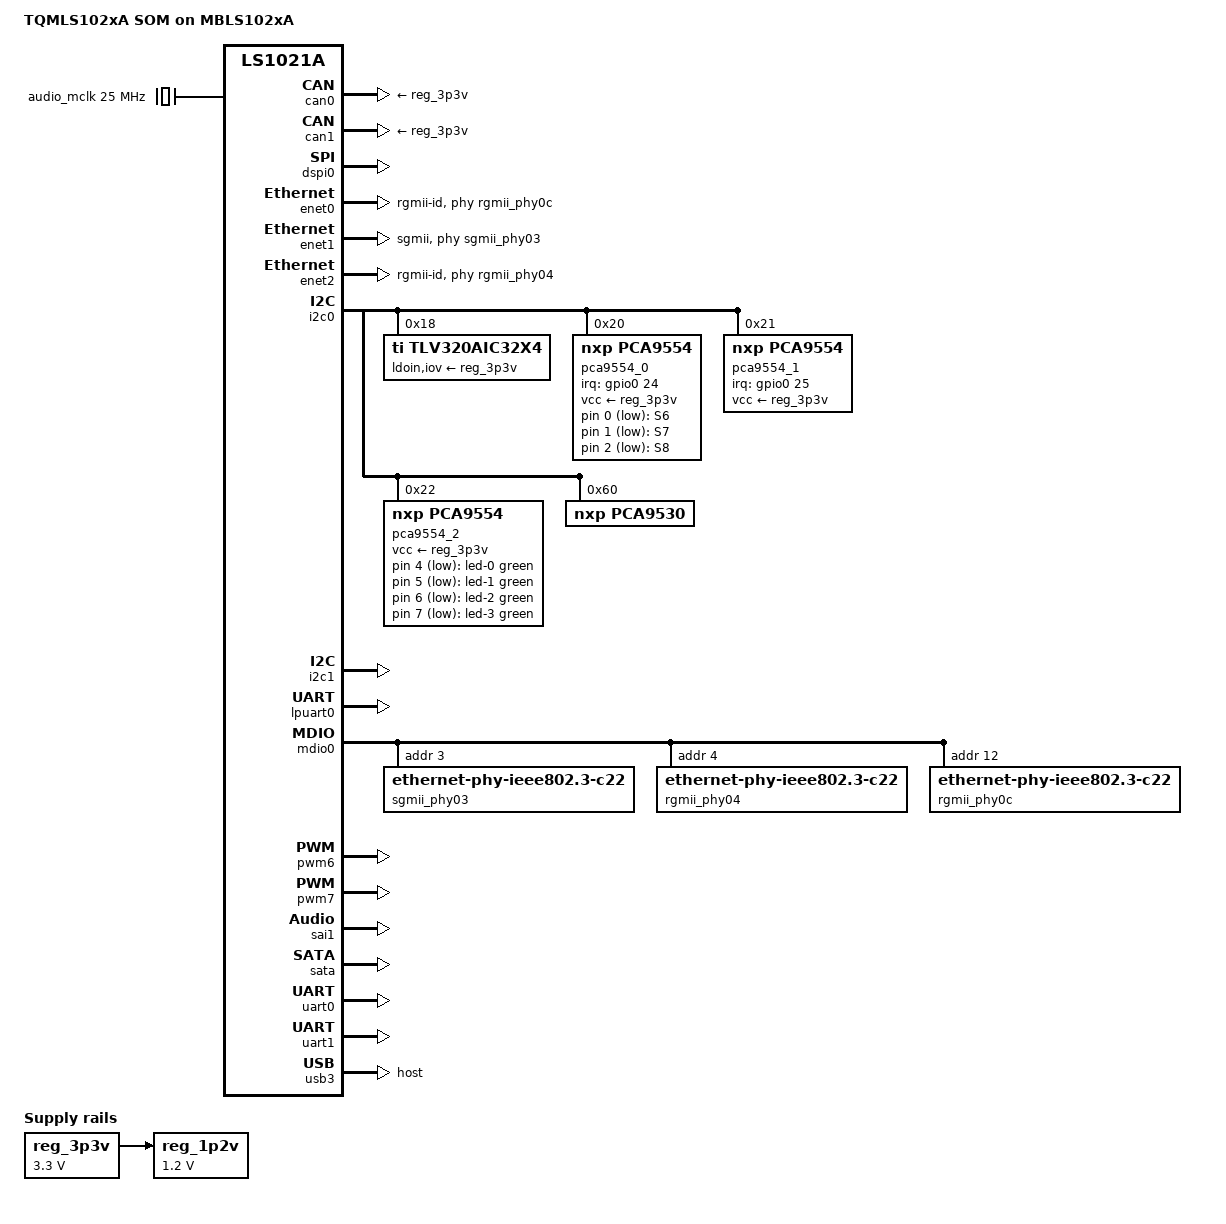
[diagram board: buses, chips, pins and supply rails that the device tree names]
// SPDX-License-Identifier: (GPL-2.0-or-later OR X11)
/*
 * Copyright 2013-2014 Freescale Semiconductor, Inc.
 * Copyright 2018-2023 TQ-Systems GmbH <linux@ew.tq-group.com>,
 * D-82229 Seefeld, Germany.
 * Author: Alexander Stein
 */

/dts-v1/;

#include <dt-bindings/gpio/gpio.h>
#include <dt-bindings/input/linux-event-codes.h>
#include <dt-bindings/leds/common.h>
#include <dt-bindings/leds/leds-pca9532.h>
#include <dt-bindings/net/ti-dp83867.h>

#include "ls1021a-tqmls1021a.dtsi"

/ {
	model = "TQMLS102xA SOM on MBLS102xA";
	compatible = "tq,ls1021a-tqmls1021a-mbls102xa", "tq,ls1021a-tqmls1021a", "fsl,ls1021a";

	audio_mclk: audio-clock {
		compatible = "fixed-clock";
		#clock-cells = <0>;
		clock-frequency = <25000000>;
	};

	backlight_dcu: backlight {
		compatible = "gpio-backlight";
		gpios = <&pca9530 0 GPIO_ACTIVE_LOW>;
		status = "disabled";
	};

	gpio-keys {
		compatible = "gpio-keys";
		autorepeat;

		switch-1 {
			label = "S6";
			linux,code = <BTN_0>;
			gpios = <&pca9554_0 0 GPIO_ACTIVE_LOW>;
		};

		btn2: switch-2 {
			label = "S7";
			linux,code = <BTN_1>;
			gpios = <&pca9554_0 1 GPIO_ACTIVE_LOW>;
		};

		switch-3 {
			label = "S8";
			linux,code = <BTN_2>;
			gpios = <&pca9554_0 2 GPIO_ACTIVE_LOW>;
		};
	};

	gpio_leds: gpio-leds {
		compatible = "gpio-leds";

		led-0 {
			color = <LED_COLOR_ID_GREEN>;
			function = LED_FUNCTION_STATUS;
			function-enumerator = <0>;
			gpios = <&pca9554_2 4 GPIO_ACTIVE_LOW>;
			linux,default-trigger = "default-on";
		};

		led-1 {
			color = <LED_COLOR_ID_GREEN>;
			function = LED_FUNCTION_STATUS;
			function-enumerator = <1>;
			gpios = <&pca9554_2 5 GPIO_ACTIVE_LOW>;
			linux,default-trigger = "default-on";
		};

		led-2 {
			color = <LED_COLOR_ID_GREEN>;
			function = LED_FUNCTION_STATUS;
			function-enumerator = <2>;
			gpios = <&pca9554_2 6 GPIO_ACTIVE_LOW>;
			linux,default-trigger = "default-on";
		};

		led-3 {
			color = <LED_COLOR_ID_GREEN>;
			function = LED_FUNCTION_HEARTBEAT;
			function-enumerator = <0>;
			gpios = <&pca9554_2 7 GPIO_ACTIVE_LOW>;
			linux,default-trigger = "heartbeat";
		};
	};

	lvds_encoder: lvds-encoder {
		compatible = "ti,sn75lvds83", "lvds-encoder";
		power-supply = <&reg_3p3v>;
		status = "disabled";

		ports {
			#address-cells = <1>;
			#size-cells = <0>;

			port@0 {
				reg = <0>;

				lvds_encoder_in: endpoint {};
			};

			port@1 {
				reg = <1>;

				lvds_encoder_out: endpoint {};
			};
		};
	};

	reg_1p2v: regulator-1p2v {
		compatible = "regulator-fixed";
		regulator-name = "1P2V";
		regulator-min-microvolt = <1200000>;
		regulator-max-microvolt = <1200000>;
		regulator-always-on;
		vin-supply = <&reg_3p3v>;
	};

	reg_3p3v: regulator-3p3v {
		compatible = "regulator-fixed";
		regulator-name = "3P3V";
		regulator-min-microvolt = <3300000>;
		regulator-max-microvolt = <3300000>;
		regulator-always-on;
	};

	hdmi_out: hdmi {
		compatible = "hdmi-connector";
		type = "a";
		ddc-i2c-bus = <&i2c0>;
		status = "disabled";

		port {
			hdmi_in: endpoint {
				remote-endpoint = <&sii9022a_out>;
			};
		};
	};

	display: panel {
		backlight = <&backlight_dcu>;
		enable-gpios = <&pca9554_1 3 GPIO_ACTIVE_HIGH>;
		status = "disabled";

		port {
			panel_in: endpoint {};
		};
	};

	sound {
		compatible = "fsl,imx-audio-tlv320aic32x4";
		model = "ls1021a-mbls1021a-tlv320aic32";
		ssi-controller = <&sai1>;
		audio-codec = <&tlv320aic32x4>;
	};

};

&can0 {
	xceiver-supply = <&reg_3p3v>;
	status = "okay";
};

&can1 {
	xceiver-supply = <&reg_3p3v>;
	status = "okay";
};

&dspi0 {
	status = "okay";
};

&enet0 {
	phy-handle = <&rgmii_phy0c>;
	phy-mode = "rgmii-id";
	mac-address = [ 00 00 00 00 00 00 ];
	status = "okay";
};

&enet1 {
	tbi-handle = <&tbi1>;
	phy-handle = <&sgmii_phy03>;
	phy-mode = "sgmii";
	mac-address = [ 00 00 00 00 00 00 ];
	status = "okay";
};

&enet2 {
	phy-handle = <&rgmii_phy04>;
	phy-mode = "rgmii-id";
	mac-address = [ 00 00 00 00 00 00 ];
	status = "okay";
};

&i2c0 {
	status = "okay";

	tlv320aic32x4: audio-codec@18 {
		compatible = "ti,tlv320aic32x4";
		reg = <0x18>;
		clocks = <&audio_mclk>;
		clock-names = "mclk";
		ldoin-supply = <&reg_3p3v>;
		iov-supply = <&reg_3p3v>;
	};

	pca9554_0: gpio-expander@20 {
		compatible = "nxp,pca9554";
		reg = <0x20>;
		gpio-controller;
		#gpio-cells = <2>;
		interrupt-parent = <&gpio0>;
		interrupts = <24 IRQ_TYPE_EDGE_FALLING>;
		interrupt-controller;
		#interrupt-cells = <2>;
		vcc-supply = <&reg_3p3v>;
		gpio-line-names = "BUTTON0", "BUTTON1",
				  "BUTTON2", "EMMC_SEL",
				  "DIP2", "DIP3",
				  "EXT_TOUCH_INT", "GPIO_1";
	};

	pca9554_1: gpio-expander@21 {
		compatible = "nxp,pca9554";
		reg = <0x21>;
		gpio-controller;
		#gpio-cells = <2>;
		interrupt-parent = <&gpio0>;
		interrupts = <25 IRQ_TYPE_EDGE_FALLING>;
		interrupt-controller;
		#interrupt-cells = <2>;
		vcc-supply = <&reg_3p3v>;
		gpio-line-names = "PCIE_PWR_EN", "MPCIE_DISABLE#",
				  "MPCIE_WAKE#", "LCD_BLT_EN",
				  "LCD_PWR_EN", "EC1_PHY_PWDN",
				  "EC3_PHY_PWDN", "SGMII_PHY_PWDN";
	};

	pca9554_2: gpio-expander@22 {
		compatible = "nxp,pca9554";
		reg = <0x22>;
		gpio-controller;
		#gpio-cells = <2>;
		interrupt-parent = <&extirq>;
		interrupts = <2 IRQ_TYPE_EDGE_FALLING>;
		interrupt-controller;
		#interrupt-cells = <2>;
		vcc-supply = <&reg_3p3v>;
		gpio-line-names = "MUX_SEL0", "MUX_SEL1",
				  "MUX_SEL2", "MUX_SEL3",
				  "V95", "V96", "V97", "V98";
	};

	sii9022a: hdmi-transmitter@3b {
		compatible = "sil,sii9022";
		reg = <0x3b>;
		iovcc-supply = <&reg_3p3v>;
		cvcc12-supply = <&reg_1p2v>;
		interrupts = <GIC_SPI 167 IRQ_TYPE_EDGE_RISING>;
		#sound-dai-cells = <0>;
		sil,i2s-data-lanes = <0>;
		status = "disabled";

		ports {
			#address-cells = <1>;
			#size-cells = <0>;

			port@0 {
				reg = <0>;

				sii9022a_in: endpoint {};
			};

			port@1 {
				reg = <1>;

				sii9022a_out: endpoint {
					remote-endpoint = <&hdmi_in>;
				};
			};
		};
	};

	stmpe811: port-expander@41 {
		compatible = "st,stmpe811";
		reg = <0x41>;
		interrupt-parent = <&gpio0>;
		interrupts = <23 IRQ_TYPE_EDGE_FALLING>;
		vcc-supply = <&reg_3p3v>;
		vio-supply = <&reg_3p3v>;

		gpio {
			compatible = "st,stmpe-gpio";
			gpio-controller;
			#gpio-cells = <2>;
			interrupt-controller;
			#interrupt-cells = <2>;
			/* GPIO 5-7 used for touch */
			st,norequest-mask = <0xf0>;
			gpio-line-names = "GPIO_ADC_I2C1_1",
					  "GPIO_ADC_I2C1_2",
					  "GPIO_ADC_I2C1_3",
					  "GPIO_ADC_I2C1_4";
		};

		touchscreen {
			compatible = "st,stmpe-ts";
			status = "disabled";
		};
	};

	pca9530: leds@60 {
		compatible = "nxp,pca9530";
		reg = <0x60>;
		gpio-controller;
		#gpio-cells = <2>;
		gpio-line-names = "PWM_0", "PWM_1";

		led-0 {
			type = <PCA9532_TYPE_GPIO>;
		};

		led-1 {
			type = <PCA9532_TYPE_GPIO>;
		};
	};

};

&i2c1 {
	status = "okay";
};

&lpuart0 {
	linux,rs485-enabled-at-boot-time;
	status = "okay";
};

&mdio0 {
	sgmii_phy03: ethernet-phy@3 {
		compatible = "ethernet-phy-ieee802.3-c22";
		reg = <0x03>;
		ti,fifo-depth = <DP83867_PHYCR_FIFO_DEPTH_4_B_NIB>;
		ti,clk-output-sel = <DP83867_CLK_O_SEL_OFF>;
		ti,dp83867-rxctrl-strap-quirk;
	};

	rgmii_phy04: ethernet-phy@4 {
		compatible = "ethernet-phy-ieee802.3-c22";
		reg = <0x04>;
		ti,rx-internal-delay = <DP83867_RGMIIDCTL_2_50_NS>;
		ti,tx-internal-delay = <DP83867_RGMIIDCTL_2_00_NS>;
		ti,fifo-depth = <DP83867_PHYCR_FIFO_DEPTH_4_B_NIB>;
		ti,clk-output-sel = <DP83867_CLK_O_SEL_OFF>;
	};

	rgmii_phy0c: ethernet-phy@c {
		compatible = "ethernet-phy-ieee802.3-c22";
		reg = <0x0c>;
		ti,rx-internal-delay = <DP83867_RGMIIDCTL_2_50_NS>;
		ti,tx-internal-delay = <DP83867_RGMIIDCTL_2_00_NS>;
		ti,fifo-depth = <DP83867_PHYCR_FIFO_DEPTH_4_B_NIB>;
		ti,clk-output-sel = <DP83867_CLK_O_SEL_OFF>;
	};
};

&pwm6 {
	status = "okay";
};

&pwm7 {
	status = "okay";
};

&sai1 {
	status = "okay";
};

&sata {
	status = "okay";
};

&uart0 {
	status = "okay";
};

&uart1 {
	status = "okay";
};

&usb3 {
	/*
	 * Although DR connector, VBUS is always driven, so
	 * restrict to host mode.
	 */
	dr_mode = "host";
	status = "okay";
};
